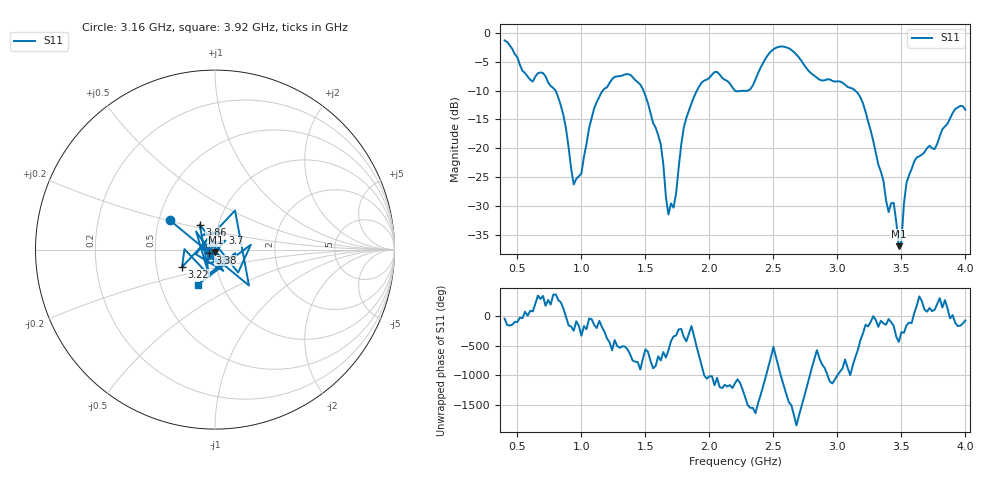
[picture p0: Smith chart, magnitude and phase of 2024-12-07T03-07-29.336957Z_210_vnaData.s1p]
!Created with skrf (http://scikit-rf.org).
# Hz S RI R 50.0
!freq ReS11 ImS11
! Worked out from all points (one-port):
!   181 points, 400 MHz to 4 GHz, reference 50 ohm
!   lowest |S11| = -36.9 dB at 3.48 GHz (marker M1), VSWR 1.03, Z = 50.2 - j1.41 ohm
!   |S11| at or under -10 dB: 797.8 MHz to 1.167 GHz (369.6 MHz wide, 37.6 % of centre); 1.485 GHz to 1.903 GHz (418 MHz wide, 24.7 % of centre); 3.138 GHz to end of sweep (the widest 3 of 4)
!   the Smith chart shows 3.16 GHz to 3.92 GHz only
!   S11 on the Smith chart (normalised r, x): 3.16 GHz: 0.57, +0.21; 3.22 GHz: 0.68, -0.14; 3.38 GHz: 0.94, -0.03; 3.7 GHz: 1.07, +0.20; 3.86 GHz: 0.81, +0.23; 3.92 GHz: 0.77, -0.32
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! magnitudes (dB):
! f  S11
! 400 MHz  -1.3
! 600 MHz  -8.1
! 720 MHz  -7.5
! 860 MHz  -14.3
! 940 MHz  -26.2
! 1 GHz  -24.3
! 1.12 GHz  -12.0
! 1.3 GHz  -7.5
! 1.5 GHz  -10.9
! 1.62 GHz  -19.3
! 1.68 GHz  -31.4
! 1.72 GHz  -30.2
! 1.76 GHz  -23.3
! 1.82 GHz  -14.7
! 1.94 GHz  -8.6
! 2.2 GHz  -10.0
! 2.66 GHz  -3.3
! 3.1 GHz  -9.5
! 3.16 GHz  -10.5
! 3.22 GHz  -13.7
! 3.38 GHz  -29.0
! 3.44 GHz  -29.4
! 3.48 GHz  -36.9
! 3.56 GHz  -24.6
! 3.7 GHz  -20.0
! 3.86 GHz  -15.7
! 3.92 GHz  -13.2
! 4 GHz  -13.3
